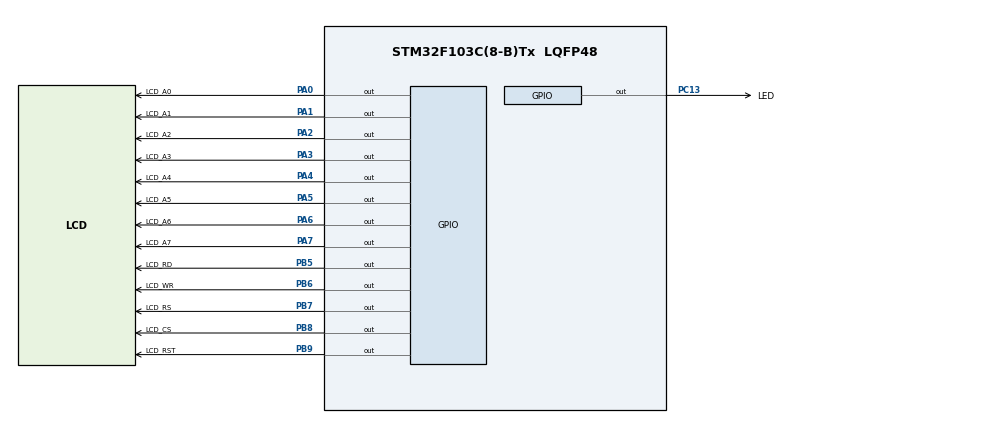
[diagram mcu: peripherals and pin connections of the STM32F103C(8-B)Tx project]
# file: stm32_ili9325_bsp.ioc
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Mcu.Family=STM32F1
Mcu.Name=STM32F103C(8-B)Tx
Mcu.Package=LQFP48
NVIC.PriorityGroup=NVIC_PRIORITYGROUP_4
PA0-WKUP.GPIO_Label=LCD_A0
PA0-WKUP.GPIO_Speed=GPIO_SPEED_FREQ_HIGH
PA0-WKUP.Signal=GPIO_Output
PA1.GPIO_Label=LCD_A1
PA1.GPIO_Speed=GPIO_SPEED_FREQ_HIGH
PA1.Signal=GPIO_Output
PA13.Mode=Serial_Wire
PA13.Signal=SYS_JTMS-SWDIO
PA14.Mode=Serial_Wire
PA14.Signal=SYS_JTCK-SWCLK
PA2.GPIO_Label=LCD_A2
PA2.GPIO_Speed=GPIO_SPEED_FREQ_HIGH
PA2.Signal=GPIO_Output
PA3.GPIO_Label=LCD_A3
PA3.GPIO_Speed=GPIO_SPEED_FREQ_HIGH
PA3.Signal=GPIO_Output
PA4.GPIO_Label=LCD_A4
PA4.GPIO_Speed=GPIO_SPEED_FREQ_HIGH
PA4.Signal=GPIO_Output
PA5.GPIO_Label=LCD_A5
PA5.GPIO_Speed=GPIO_SPEED_FREQ_HIGH
PA5.Signal=GPIO_Output
PA6.GPIO_Label=LCD_A6
PA6.GPIO_Speed=GPIO_SPEED_FREQ_HIGH
PA6.Signal=GPIO_Output
PA7.GPIO_Label=LCD_A7
PA7.GPIO_Speed=GPIO_SPEED_FREQ_HIGH
PA7.Signal=GPIO_Output
PB5.GPIO_Label=LCD_RD
PB5.GPIO_Speed=GPIO_SPEED_FREQ_HIGH
PB5.Signal=GPIO_Output
PB6.GPIO_Label=LCD_WR
PB6.GPIO_Speed=GPIO_SPEED_FREQ_HIGH
PB6.Signal=GPIO_Output
PB7.GPIO_Label=LCD_RS
PB7.GPIO_Speed=GPIO_SPEED_FREQ_HIGH
PB7.Signal=GPIO_Output
PB8.GPIO_Label=LCD_CS
PB8.GPIO_Speed=GPIO_SPEED_FREQ_HIGH
PB8.Signal=GPIO_Output
PB9.GPIO_Label=LCD_RST
PB9.GPIO_Speed=GPIO_SPEED_FREQ_HIGH
PB9.Signal=GPIO_Output
PC13-TAMPER-RTC.GPIO_Label=LED
PC13-TAMPER-RTC.GPIO_Speed=GPIO_SPEED_FREQ_HIGH
PC13-TAMPER-RTC.Signal=GPIO_Output
PD0-OSC_IN.Mode=HSE-External-Oscillator
PD0-OSC_IN.Signal=RCC_OSC_IN
PD1-OSC_OUT.Mode=HSE-External-Oscillator
PD1-OSC_OUT.Signal=RCC_OSC_OUT
ProjectManager.HeapSize=0x200
ProjectManager.StackSize=0x400
ProjectManager.TargetToolchain=Makefile
RCC.ADCPresc=RCC_ADCPCLK2_DIV6
RCC.AHBFreq_Value=72000000
RCC.APB1CLKDivider=RCC_HCLK_DIV2
RCC.APB1Freq_Value=36000000
RCC.APB1TimFreq_Value=72000000
RCC.APB2Freq_Value=72000000
RCC.APB2TimFreq_Value=72000000
RCC.HCLKFreq_Value=72000000
RCC.PLLMUL=RCC_PLL_MUL9
RCC.PLLSourceVirtual=RCC_PLLSOURCE_HSE
RCC.SYSCLKFreq_VALUE=72000000
RCC.SYSCLKSource=RCC_SYSCLKSOURCE_PLLCLK
RCC.USBFreq_Value=72000000
board=stm32_ili9325_bsp

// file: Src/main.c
/* USER CODE BEGIN Header */
/**
  ******************************************************************************
  * @file           : main.c
  * @brief          : Main program body
  ******************************************************************************
  * @attention
  *
  * <h2><center>&copy; Copyright (c) 2020 STMicroelectronics.
  * All rights reserved.</center></h2>
  *
  * This software component is licensed by ST under BSD 3-Clause license,
  * the "License"; You may not use this file except in compliance with the
  * License. You may obtain a copy of the License at:
  *                        opensource.org/licenses/BSD-3-Clause
  *
  ******************************************************************************
  */
/* USER CODE END Header */

#include "main.h"
#include "gpio.h"

/* USER CODE BEGIN Includes */
#include "stdlib.h"
#include "stdbool.h"
#include "math.h"

#include "clock.h"
#include "gauge.h"
#include "graphics_test.h"
#include "stm32_adafruit_lcd.h"
#include "ili9325_io.h"
#include "ili9325.h"
#include "System_Clock_128.h"

#define M_PI 3.14159

//#pragma GCC diagnostic ignored "-Wunused-variable"
//#pragma GCC diagnostic ignored "-Wunused-function"

/* USER CODE END Includes */

/* USER CODE BEGIN PV */
/* Private variables ---------------------------------------------------------*/

/* USER CODE END PV */

void SystemClock_Config(void);
/* USER CODE BEGIN PFP */
/* Private function prototypes -----------------------------------------------*/

/* USER CODE END PFP */

int main(void)
{

  /* MCU Configuration--------------------------------------------------------*/

  /* Reset of all peripherals, Initializes the Flash interface and the Systick. */

  LL_APB2_GRP1_EnableClock(LL_APB2_GRP1_PERIPH_AFIO);
  LL_APB1_GRP1_EnableClock(LL_APB1_GRP1_PERIPH_PWR);

  NVIC_SetPriorityGrouping(NVIC_PRIORITYGROUP_4);

  /* System interrupt init*/

  /** NOJTAG: JTAG-DP Disabled and SW-DP Enabled
  */
  LL_GPIO_AF_Remap_SWJ_NOJTAG();

  /* Configure the system clock */
  SystemClock_Config();

  /* USER CODE BEGIN SysInit */
  // System_Clock_128();
  /* USER CODE END SysInit */

  /* Initialize all configured peripherals */
  MX_GPIO_Init();
  /* USER CODE BEGIN 2 */
  BSP_LCD_Init();

  /* USER CODE END 2 */

   /* Infinite loop */
  /* USER CODE BEGIN WHILE */
  BSP_LCD_DisplayOff();
  BSP_LCD_Clear(LCD_COLOR_RED);
  BSP_LCD_DisplayOn();
  delay(100);
  BSP_LCD_SetRotation(2);

  BSP_LCD_SetTextColor(LCD_COLOR_BLUE);
  BSP_LCD_SetBackColor(LCD_COLOR_BLACK);
  BSP_LCD_Clear(LCD_COLOR_BLACK);

  while (1)
  {
    // lcd_test();

    // BSP_LCD_Clear(LCD_COLOR_BLACK);
    // clock();
    for(uint16_t i=270;i<=360;i++)
    { // (coordinate_x, coordinate_y, rotateangle ,color, value)
      // BSP_LCD_Clear(LCD_COLOR_BLACK);
      // gauge(24,36, 100,LCD_COLOR_BLUE, i);
      // gauge(10,60, 100,LCD_COLOR_YELLOW, i);
      // gauge(165,10, 100,LCD_COLOR_RED, i);
      gauge(24,100, 100,LCD_COLOR_CYAN, i);
      delay_us(2900);
    }
    for(uint16_t i=360;i>=270;i--)
    { // (coordinate_x, coordinate_y, rotateangle ,color, value)
      gauge(24,100, 100,LCD_COLOR_CYAN, i);
      delay_us(2900);
    }

    /* USER CODE END WHILE */

  }
}

void SystemClock_Config(void)
{
  LL_FLASH_SetLatency(LL_FLASH_LATENCY_2);

   if(LL_FLASH_GetLatency() != LL_FLASH_LATENCY_2)
  {
    Error_Handler();
  }
  LL_RCC_HSE_Enable();

   /* Wait till HSE is ready */
  while(LL_RCC_HSE_IsReady() != 1)
  {

  }
  LL_RCC_PLL_ConfigDomain_SYS(LL_RCC_PLLSOURCE_HSE_DIV_1, LL_RCC_PLL_MUL_9);
  LL_RCC_PLL_Enable();

   /* Wait till PLL is ready */
  while(LL_RCC_PLL_IsReady() != 1)
  {

  }
  LL_RCC_SetAHBPrescaler(LL_RCC_SYSCLK_DIV_1);
  LL_RCC_SetAPB1Prescaler(LL_RCC_APB1_DIV_2);
  LL_RCC_SetAPB2Prescaler(LL_RCC_APB2_DIV_1);
  LL_RCC_SetSysClkSource(LL_RCC_SYS_CLKSOURCE_PLL);

   /* Wait till System clock is ready */
  while(LL_RCC_GetSysClkSource() != LL_RCC_SYS_CLKSOURCE_STATUS_PLL)
  {

  }
  LL_Init1msTick(72000000);
  LL_SYSTICK_SetClkSource(LL_SYSTICK_CLKSOURCE_HCLK);
  LL_SetSystemCoreClock(72000000);
}

void Error_Handler(void)
{
  while(1)
  {
  }
}

/************************ (C) COPYRIGHT STMicroelectronics *****END OF FILE****/
